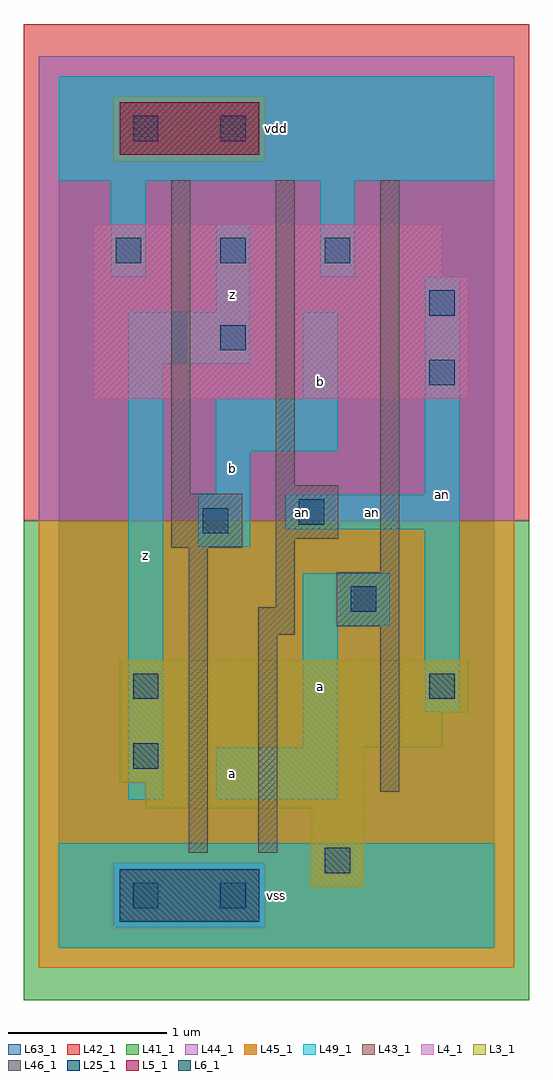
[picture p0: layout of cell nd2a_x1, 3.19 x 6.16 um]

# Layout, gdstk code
import gdstk
lib = gdstk.Library(unit=1e-6, precision=1e-09)
def R(c, l, rs):  # rectangles x0, y0, x1, y1
    for r in rs: c.add(gdstk.rectangle(r[:2], r[2:], *l))
def A(c, l, x, y, w, h, nx, ny, dx, dy):  # array of equal rectangles
    R(c, l, [(x+i*dx, y+j*dy, x+i*dx+w, y+j*dy+h) for i in range(nx) for j in range(ny)])
L3_1 = (3, 1)
L4_1 = (4, 1)
L5_1 = (5, 1)
L6_1 = (6, 1)
L25_1 = (25, 1)
L41_1 = (41, 1)
L42_1 = (42, 1)
L43_1 = (43, 1)
L44_1 = (44, 1)
L45_1 = (45, 1)
L46_1 = (46, 1)
L49_1 = (49, 1)
L63_1 = (63, 1)

nd2a_x1 = lib.new_cell('nd2a_x1')
R(nd2a_x1, L3_1, [(1.595,0.385,1.925,0.88), (0.55,0.88,1.925,1.045), (0.385,1.045,1.925,1.265), (0.385,1.265,2.42,1.485), (0.385,1.485,2.585,1.815)])
R(nd2a_x1, L4_1, [(0.22,3.465,2.585,4.235), (0.22,4.235,2.42,4.565)])
R(nd2a_x1, L5_1, [(0.385,5.005,1.265,5.335)])
R(nd2a_x1, L6_1, [(0.385,0.165,1.265,0.495)])
A(nd2a_x1, L25_1, 0.36, 4.32, 0.16, 0.16, 3, 1, 0.66, 0)
R(nd2a_x1, L25_1, [(0.47,0.25,0.63,0.41), (1.02,0.25,1.18,0.41), (1.68,0.47,1.84,0.63), (0.47,1.13,0.63,1.29), (0.47,1.57,0.63,1.73), (2.34,1.57,2.5,1.73), (1.845,2.12,2.005,2.28), (0.91,2.615,1.07,2.775), (1.515,2.67,1.675,2.83), (2.34,3.55,2.5,3.71), (1.02,3.77,1.18,3.93), (2.34,3.99,2.5,4.15), (0.47,5.09,0.63,5.25), (1.02,5.09,1.18,5.25)])
R(nd2a_x1, L41_1, [(-0.22,-0.33,2.97,2.695)])
R(nd2a_x1, L42_1, [(-0.22,2.695,2.97,5.83)])
R(nd2a_x1, L43_1, [(0.385,0.165,1.265,0.495), (1.595,0.385,1.925,0.88), (0.55,0.88,1.925,1.045), (0.385,1.045,1.925,1.265), (0.385,1.265,2.42,1.485), (0.385,1.485,2.585,1.815), (0.22,3.465,2.585,4.235), (0.22,4.235,2.42,4.565), (0.385,5.005,1.265,5.335)])
R(nd2a_x1, L44_1, [(0.345,0.125,1.305,0.535), (-0.125,2.695,2.875,4.965), (-0.125,4.965,0.345,5.375), (1.305,4.965,2.875,5.375), (-0.125,5.375,2.875,5.625)])
R(nd2a_x1, L45_1, [(-0.125,-0.125,2.875,0.125), (-0.125,0.125,0.345,0.535), (1.305,0.125,2.875,0.535), (-0.125,0.535,2.875,2.695), (0.345,4.965,1.305,5.375)])
R(nd2a_x1, L46_1, [(0.82,0.6,0.94,2.525), (1.26,0.6,1.38,1.975), (2.03,0.985,2.15,2.03), (1.26,1.975,1.49,2.15), (1.755,2.03,2.15,2.37), (1.37,2.15,1.49,2.58), (2.03,2.37,2.15,4.845), (0.71,2.525,1.16,2.865), (1.37,2.58,1.765,2.92), (0.71,2.865,0.83,4.845), (1.37,2.92,1.49,4.845)])
R(nd2a_x1, L49_1, [(0,0,2.75,0.66), (0.44,0.935,0.66,3.685), (0.99,0.935,1.76,1.265), (1.54,1.265,1.76,2.035), (2.31,1.485,2.53,2.64), (1.54,2.035,2.09,2.365), (0.88,2.53,1.21,2.86), (1.43,2.64,2.53,2.86), (0.99,2.86,1.21,3.135), (2.31,2.86,2.53,4.235), (0.99,3.135,1.76,3.465), (1.54,3.465,1.76,4.015), (0.44,3.685,1.21,4.015), (0.99,4.015,1.21,4.565), (0.33,4.235,0.55,4.84), (1.65,4.235,1.87,4.84), (0,4.84,2.75,5.5)])
R(nd2a_x1, L63_1, [(0,0,2.75,5.5)])
nd2a_x1.add(gdstk.Label('an', (1.54,2.75), layer=49, texttype=1))
nd2a_x1.add(gdstk.Label('a', (1.1,1.1), layer=49, texttype=1))
nd2a_x1.add(gdstk.Label('a', (1.1,1.1), layer=49, texttype=1))
nd2a_x1.add(gdstk.Label('z', (0.55,2.475), layer=49, texttype=1))
nd2a_x1.add(gdstk.Label('z', (0.55,2.475), layer=49, texttype=1))
nd2a_x1.add(gdstk.Label('b', (1.1,3.025), layer=49, texttype=1))
nd2a_x1.add(gdstk.Label('b', (1.1,3.025), layer=49, texttype=1))
nd2a_x1.add(gdstk.Label('z', (1.1,4.125), layer=49, texttype=1))
nd2a_x1.add(gdstk.Label('z', (1.1,4.125), layer=49, texttype=1))
nd2a_x1.add(gdstk.Label('vss', (1.375,0.33), layer=49, texttype=1))
nd2a_x1.add(gdstk.Label('vss', (1.375,0.33), layer=49, texttype=1))
nd2a_x1.add(gdstk.Label('a', (1.65,1.65), layer=49, texttype=1))
nd2a_x1.add(gdstk.Label('a', (1.65,1.65), layer=49, texttype=1))
nd2a_x1.add(gdstk.Label('b', (1.65,3.575), layer=49, texttype=1))
nd2a_x1.add(gdstk.Label('b', (1.65,3.575), layer=49, texttype=1))
nd2a_x1.add(gdstk.Label('vdd', (1.375,5.17), layer=49, texttype=1))
nd2a_x1.add(gdstk.Label('vdd', (1.375,5.17), layer=49, texttype=1))
nd2a_x1.add(gdstk.Label('an', (1.98,2.75), layer=49, texttype=1))
nd2a_x1.add(gdstk.Label('an', (2.42,2.86), layer=49, texttype=1))

lib.write_gds('nd2a_x1.gds')
